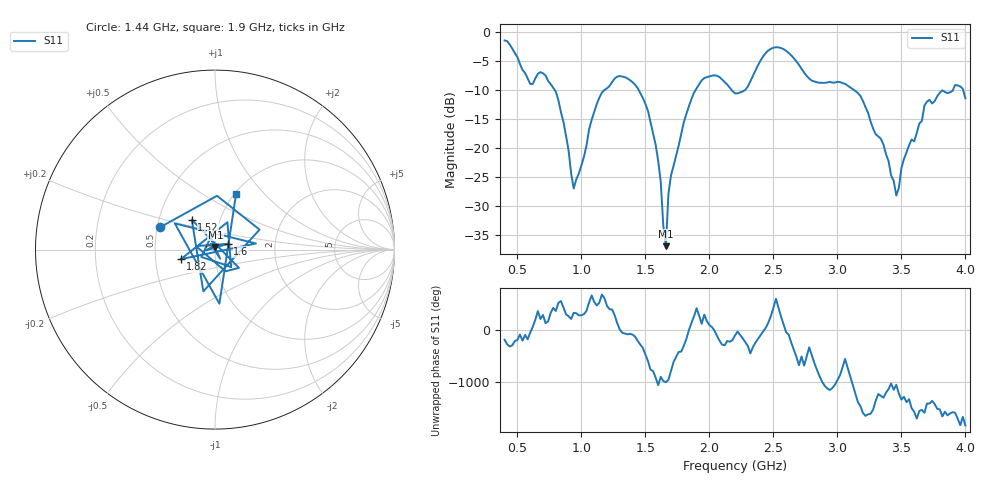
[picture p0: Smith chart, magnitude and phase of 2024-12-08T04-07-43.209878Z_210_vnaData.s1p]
!Created with skrf (http://scikit-rf.org).
# Hz S RI R 50.0
!freq ReS11 ImS11
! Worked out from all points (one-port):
!   181 points, 400 MHz to 4 GHz, reference 50 ohm
!   lowest |S11| = -36.8 dB at 1.66 GHz (marker M1), VSWR 1.03, Z = 50.2 + j1.43 ohm
!   |S11| at or under -10 dB: 793.7 MHz to 1.177 GHz (383.4 MHz wide, 38.9 % of centre); 1.449 GHz to 1.89 GHz (441.2 MHz wide, 26.4 % of centre); 3.133 GHz to 3.82 GHz (686.3 MHz wide, 19.7 % of centre) (the widest 3 of 6)
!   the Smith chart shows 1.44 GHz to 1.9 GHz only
!   S11 on the Smith chart (normalised r, x): 1.44 GHz: 0.52, +0.14; 1.52 GHz: 0.73, +0.26; 1.6 GHz: 1.15, +0.07; 1.82 GHz: 0.68, -0.08; 1.9 GHz: 1.02, +0.70
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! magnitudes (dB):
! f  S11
! 400 MHz  -1.4
! 600 MHz  -8.9
! 720 MHz  -7.4
! 800 MHz  -10.2
! 860 MHz  -15.5
! 940 MHz  -26.9
! 1.14 GHz  -11.3
! 1.3 GHz  -7.5
! 1.44 GHz  -9.6
! 1.52 GHz  -13.5
! 1.6 GHz  -22.2
! 1.66 GHz  -36.8
! 1.68 GHz  -27.8
! 1.76 GHz  -19.5
! 1.82 GHz  -14.1
! 1.9 GHz  -9.6
! 2.04 GHz  -7.4
! 2.2 GHz  -10.5
! 2.48 GHz  -2.8
! 2.66 GHz  -4.5
! 2.8 GHz  -8.3
! 3.1 GHz  -9.5
! 3.36 GHz  -19.4
! 3.46 GHz  -28.1
! 3.56 GHz  -19.5
! 3.7 GHz  -11.9
! 3.92 GHz  -9.1
! 4 GHz  -11.4
